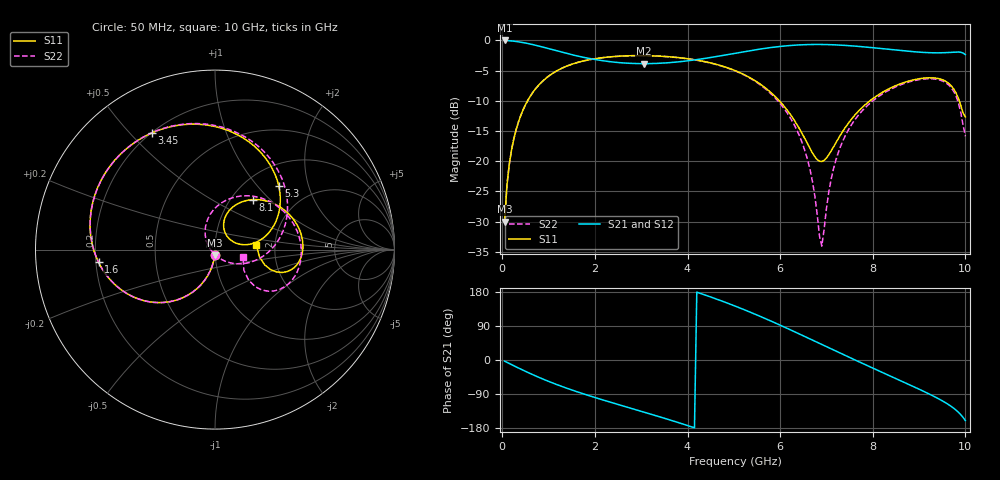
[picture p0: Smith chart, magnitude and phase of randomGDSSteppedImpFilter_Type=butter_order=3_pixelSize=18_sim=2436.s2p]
! freq	dB(S11)	phase(S11)	dB(S12)	phase(S12)
!  dB(S21)	phase(S21)	dB(S22)	phase(S22)
!S-par simulation data
#  GHz  S  DB  R 50
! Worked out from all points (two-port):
!   200 points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, 50 MHz to 10 GHz, reference 50 ohm
!   highest |S21| = -0.01 dB at 50 MHz (marker M1); lowest = -3.8 dB at 3.05 GHz (marker M2)
!   |S21| within 3 dB of the highest: start of sweep to 1.889 GHz; 4.353 GHz to end of sweep
!   lowest |S11| = -30.0 dB at 50 MHz (marker M3), VSWR 1.07, Z = 49.7 - j3.14 ohm
!   |S11| at or under -10 dB: start of sweep to 545.9 MHz; 5.983 GHz to 7.938 GHz (1.955 GHz wide, 28.1 % of centre); 9.867 GHz to end of sweep
!   |S22| runs from -34.1 to -2.5 dB; largest |S21 - S12| = 0
!   S11 on the Smith chart (normalised r, x): 50 MHz: 0.99, -0.06; 1.6 GHz: 0.21, -0.05; 3.45 GHz: 0.20, +0.58; 5.3 GHz: 1.38, +1.31; 8.1 GHz: 1.26, +0.80; 10 GHz: 1.60, +0.09
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0.05  -30.02 -93.3  -0.01 -3.1  -0.01 -3.1  -30.02 -93.3
0.2  -18.13 -102.9  -0.09 -12.3  -0.09 -12.3  -18.13 -102.9
0.45  -11.48 -117.6  -0.36 -27.1  -0.36 -27.1  -11.48 -117.6
0.95  -6.22 -144.5  -1.26 -54.0  -1.26 -54.0  -6.22 -144.5
1.6  -3.71 -173.8  -2.54 -83.2  -2.54 -83.2  -3.71 -173.8
1.75  -3.41 -179.8  -2.79 -89.3  -2.79 -89.3  -3.41 -179.9
3.05  -2.52 132.7  -3.85 -137.2  -3.85 -137.2  -2.52 132.0
3.4  -2.60 120.2  -3.78 -150.0  -3.78 -150.0  -2.61 119.1
3.45  -2.63 118.4  -3.76 -151.8  -3.76 -151.8  -2.63 117.3
4.25  -3.33 88.5  -3.13 176.9  -3.13 176.9  -3.35 85.7
5.05  -5.07 55.8  -2.10 141.2  -2.10 141.2  -5.12 49.3
5.3  -5.97 45.1  -1.77 128.9  -1.77 128.9  -6.04 36.7
6.2  -12.04 11.3  -0.85 80.8  -0.85 80.8  -12.59 -14.7
6.7  -18.67 19.7  -0.67 52.4  -0.67 52.4  -23.46 -55.9
6.9  -20.05 43.7  -0.67 40.9  -0.67 40.9  -34.07 -149.0
7.1  -18.32 65.0  -0.71 29.5  -0.71 29.5  -23.03 133.6
7.3  -15.68 72.3  -0.78 18.1  -0.78 18.1  -17.64 114.3
8.1  -9.11 52.6  -1.28 -26.9  -1.28 -26.9  -9.42 62.3
8.35  -8.01 42.5  -1.48 -40.8  -1.48 -40.8  -8.23 47.5
9.4  -6.29 -3.6  -2.06 -100.9  -2.06 -100.9  -6.47 -15.1
9.75  -8.06 -18.8  -1.94 -127.5  -1.94 -127.5  -8.47 -38.0
10  -12.67 6.3  -2.36 -159.9  -2.36 -159.9  -15.87 -14.9
